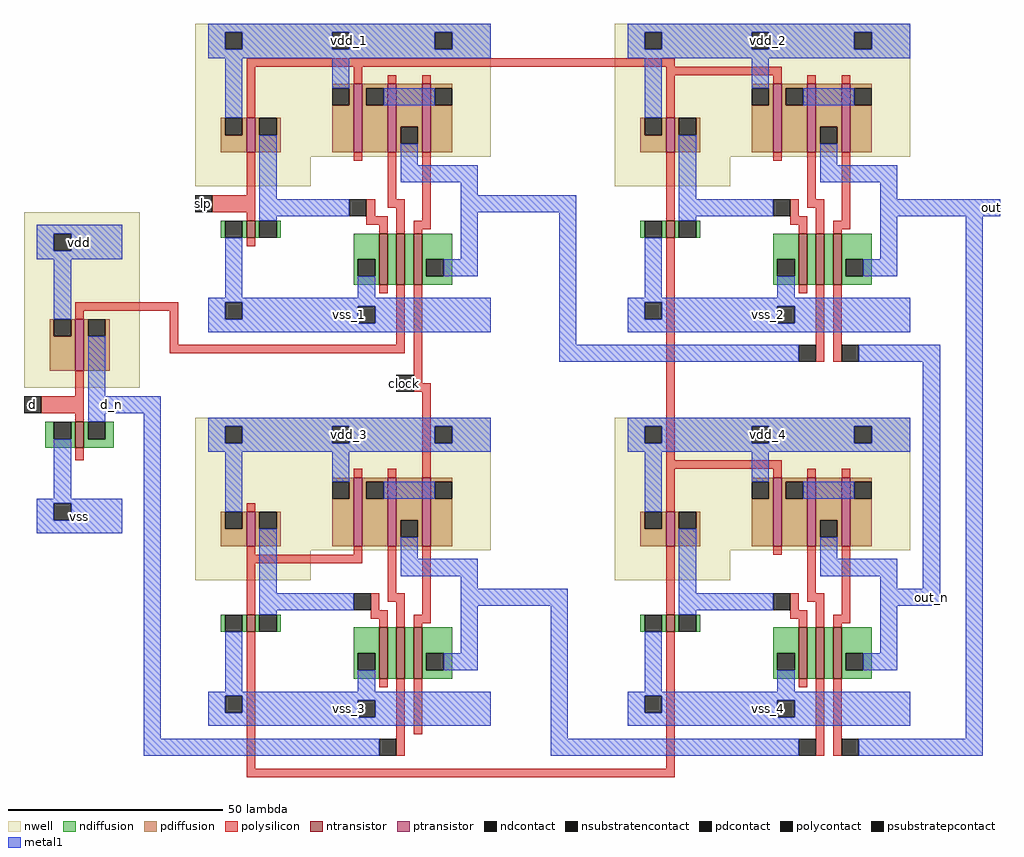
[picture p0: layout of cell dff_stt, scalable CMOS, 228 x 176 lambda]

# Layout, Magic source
magic
tech scmos
<< nwell >>
rect 109 19 178 50
rect 207 19 276 50
rect 109 12 136 19
rect 207 12 234 19
rect 69 -35 96 6
rect 109 -73 178 -42
rect 207 -73 276 -42
rect 109 -80 136 -73
rect 207 -80 234 -73
<< polysilicon >>
rect 121 40 221 42
rect 121 28 123 40
rect 146 36 148 40
rect 219 38 246 40
rect 154 36 156 38
rect 162 36 164 38
rect 219 28 221 38
rect 244 36 246 38
rect 252 36 254 38
rect 260 36 262 38
rect 121 10 123 20
rect 146 18 148 20
rect 113 6 123 10
rect 154 9 156 20
rect 121 4 123 6
rect 149 5 151 9
rect 154 7 158 9
rect 149 3 154 5
rect 152 1 154 3
rect 156 1 158 7
rect 162 4 164 20
rect 219 4 221 20
rect 244 18 246 20
rect 252 9 254 20
rect 248 5 250 9
rect 252 7 256 9
rect 160 2 164 4
rect 160 1 162 2
rect 121 -2 123 0
rect 248 3 252 5
rect 250 1 252 3
rect 254 1 256 7
rect 260 4 262 20
rect 258 2 262 4
rect 258 1 260 2
rect 152 -13 154 -11
rect 81 -17 105 -15
rect 81 -19 83 -17
rect 103 -25 105 -17
rect 156 -25 158 -11
rect 103 -27 158 -25
rect 81 -37 83 -31
rect 160 -34 162 -11
rect 160 -36 164 -34
rect 73 -41 83 -37
rect 81 -43 83 -41
rect 81 -52 83 -49
rect 146 -56 148 -54
rect 154 -56 156 -54
rect 162 -56 164 -36
rect 219 -52 221 0
rect 250 -13 252 -11
rect 254 -29 256 -11
rect 258 -29 260 -11
rect 219 -54 246 -52
rect 121 -64 123 -62
rect 219 -64 221 -54
rect 244 -56 246 -54
rect 252 -56 254 -54
rect 260 -56 262 -54
rect 121 -74 123 -72
rect 146 -74 148 -72
rect 121 -76 148 -74
rect 121 -88 123 -76
rect 154 -83 156 -72
rect 150 -87 152 -83
rect 154 -85 158 -83
rect 150 -89 154 -87
rect 152 -91 154 -89
rect 156 -91 158 -85
rect 162 -88 164 -72
rect 219 -88 221 -72
rect 244 -74 246 -72
rect 252 -83 254 -72
rect 248 -87 250 -83
rect 252 -85 256 -83
rect 160 -90 164 -88
rect 160 -91 162 -90
rect 121 -124 123 -92
rect 248 -89 252 -87
rect 250 -91 252 -89
rect 254 -91 256 -85
rect 260 -88 262 -72
rect 258 -90 262 -88
rect 258 -91 260 -90
rect 152 -105 154 -103
rect 156 -121 158 -103
rect 160 -116 162 -103
rect 219 -124 221 -92
rect 250 -105 252 -103
rect 254 -121 256 -103
rect 258 -121 260 -103
rect 121 -126 221 -124
<< ndiffusion >>
rect 115 0 116 4
rect 120 0 121 4
rect 123 0 124 4
rect 128 0 129 4
rect 146 -5 152 1
rect 146 -9 147 -5
rect 151 -9 152 -5
rect 146 -11 152 -9
rect 154 -11 156 1
rect 158 -11 160 1
rect 162 -5 169 1
rect 213 0 214 4
rect 218 0 219 4
rect 221 0 222 4
rect 226 0 227 4
rect 162 -9 163 -5
rect 167 -9 169 -5
rect 162 -11 169 -9
rect 74 -47 76 -43
rect 80 -47 81 -43
rect 74 -49 81 -47
rect 83 -47 84 -43
rect 88 -47 90 -43
rect 83 -49 90 -47
rect 244 -5 250 1
rect 244 -9 245 -5
rect 249 -9 250 -5
rect 244 -11 250 -9
rect 252 -11 254 1
rect 256 -11 258 1
rect 260 -5 267 1
rect 260 -9 261 -5
rect 265 -9 267 -5
rect 260 -11 267 -9
rect 115 -92 116 -88
rect 120 -92 121 -88
rect 123 -92 124 -88
rect 128 -92 129 -88
rect 146 -97 152 -91
rect 146 -101 147 -97
rect 151 -101 152 -97
rect 146 -103 152 -101
rect 154 -103 156 -91
rect 158 -103 160 -91
rect 162 -97 169 -91
rect 213 -92 214 -88
rect 218 -92 219 -88
rect 221 -92 222 -88
rect 226 -92 227 -88
rect 162 -101 163 -97
rect 167 -101 169 -97
rect 162 -103 169 -101
rect 244 -97 250 -91
rect 244 -101 245 -97
rect 249 -101 250 -97
rect 244 -103 250 -101
rect 252 -103 254 -91
rect 256 -103 258 -91
rect 260 -97 267 -91
rect 260 -101 261 -97
rect 265 -101 267 -97
rect 260 -103 267 -101
<< pdiffusion >>
rect 141 35 146 36
rect 145 31 146 35
rect 115 24 116 28
rect 120 24 121 28
rect 115 20 121 24
rect 123 24 124 28
rect 128 24 129 28
rect 123 20 129 24
rect 141 20 146 31
rect 148 35 154 36
rect 148 31 149 35
rect 153 31 154 35
rect 148 20 154 31
rect 156 26 162 36
rect 156 22 157 26
rect 161 22 162 26
rect 156 20 162 22
rect 164 35 169 36
rect 164 31 165 35
rect 164 20 169 31
rect 239 35 244 36
rect 243 31 244 35
rect 213 24 214 28
rect 218 24 219 28
rect 213 20 219 24
rect 221 24 222 28
rect 226 24 227 28
rect 221 20 227 24
rect 239 20 244 31
rect 246 35 252 36
rect 246 31 247 35
rect 251 31 252 35
rect 246 20 252 31
rect 254 26 260 36
rect 254 22 255 26
rect 259 22 260 26
rect 254 20 260 22
rect 262 35 267 36
rect 262 31 263 35
rect 262 20 267 31
rect 75 -23 76 -19
rect 80 -23 81 -19
rect 75 -31 81 -23
rect 83 -23 84 -19
rect 88 -23 89 -19
rect 83 -31 89 -23
rect 141 -57 146 -56
rect 145 -61 146 -57
rect 115 -68 116 -64
rect 120 -68 121 -64
rect 115 -72 121 -68
rect 123 -68 124 -64
rect 128 -68 129 -64
rect 123 -72 129 -68
rect 141 -72 146 -61
rect 148 -57 154 -56
rect 148 -61 149 -57
rect 153 -61 154 -57
rect 148 -72 154 -61
rect 156 -66 162 -56
rect 156 -70 157 -66
rect 161 -70 162 -66
rect 156 -72 162 -70
rect 164 -57 169 -56
rect 164 -61 165 -57
rect 164 -72 169 -61
rect 239 -57 244 -56
rect 243 -61 244 -57
rect 213 -68 214 -64
rect 218 -68 219 -64
rect 213 -72 219 -68
rect 221 -68 222 -64
rect 226 -68 227 -64
rect 221 -72 227 -68
rect 239 -72 244 -61
rect 246 -57 252 -56
rect 246 -61 247 -57
rect 251 -61 252 -57
rect 246 -72 252 -61
rect 254 -66 260 -56
rect 254 -70 255 -66
rect 259 -70 260 -66
rect 254 -72 260 -70
rect 262 -57 267 -56
rect 262 -61 263 -57
rect 262 -72 267 -61
<< metal1 >>
rect 112 48 178 50
rect 112 44 116 48
rect 120 44 141 48
rect 145 44 165 48
rect 169 44 178 48
rect 112 42 178 44
rect 210 48 276 50
rect 210 44 214 48
rect 218 44 239 48
rect 243 44 263 48
rect 267 44 276 48
rect 210 42 276 44
rect 116 28 120 42
rect 141 35 145 42
rect 153 31 165 35
rect 214 28 218 42
rect 239 35 243 42
rect 251 31 263 35
rect 124 9 128 24
rect 157 17 161 22
rect 157 13 175 17
rect 171 10 175 13
rect 124 5 145 9
rect 171 6 198 10
rect 124 4 128 5
rect 72 1 92 3
rect 72 -3 76 1
rect 80 -3 92 1
rect 72 -5 92 -3
rect 76 -19 80 -5
rect 116 -14 120 0
rect 171 -5 175 6
rect 167 -9 175 -5
rect 147 -14 151 -9
rect 112 -15 178 -14
rect 112 -19 116 -15
rect 120 -16 178 -15
rect 120 -19 147 -16
rect 112 -20 147 -19
rect 151 -20 178 -16
rect 112 -22 178 -20
rect 84 -37 88 -23
rect 194 -25 198 6
rect 222 9 226 24
rect 255 17 259 22
rect 255 13 273 17
rect 269 9 273 13
rect 222 5 244 9
rect 269 5 297 9
rect 222 4 226 5
rect 214 -14 218 0
rect 269 -5 273 5
rect 265 -9 273 -5
rect 245 -14 249 -9
rect 210 -15 276 -14
rect 210 -19 214 -15
rect 218 -16 276 -15
rect 218 -19 245 -16
rect 210 -20 245 -19
rect 249 -20 276 -16
rect 210 -22 276 -20
rect 194 -29 250 -25
rect 264 -29 283 -25
rect 84 -41 101 -37
rect 84 -43 88 -41
rect 76 -61 80 -47
rect 72 -62 92 -61
rect 72 -66 76 -62
rect 80 -66 92 -62
rect 72 -69 92 -66
rect 97 -117 101 -41
rect 112 -44 178 -42
rect 112 -48 116 -44
rect 120 -48 141 -44
rect 145 -48 165 -44
rect 169 -48 178 -44
rect 112 -50 178 -48
rect 210 -44 276 -42
rect 210 -48 214 -44
rect 218 -48 239 -44
rect 243 -48 263 -44
rect 267 -48 276 -44
rect 210 -50 276 -48
rect 116 -64 120 -50
rect 141 -57 145 -50
rect 153 -61 165 -57
rect 214 -64 218 -50
rect 239 -57 243 -50
rect 251 -61 263 -57
rect 124 -83 128 -68
rect 157 -75 161 -70
rect 157 -79 175 -75
rect 171 -82 175 -79
rect 124 -87 146 -83
rect 171 -86 196 -82
rect 124 -88 128 -87
rect 116 -106 120 -92
rect 171 -97 175 -86
rect 167 -101 175 -97
rect 147 -106 151 -101
rect 112 -107 178 -106
rect 112 -111 116 -107
rect 120 -108 178 -107
rect 120 -111 147 -108
rect 112 -112 147 -111
rect 151 -112 178 -108
rect 112 -114 178 -112
rect 192 -117 196 -86
rect 222 -83 226 -68
rect 255 -75 259 -70
rect 255 -79 273 -75
rect 269 -82 273 -79
rect 279 -82 283 -29
rect 222 -87 244 -83
rect 269 -86 283 -82
rect 222 -88 226 -87
rect 214 -106 218 -92
rect 269 -97 273 -86
rect 265 -101 273 -97
rect 245 -106 249 -101
rect 210 -107 276 -106
rect 210 -111 214 -107
rect 218 -108 276 -107
rect 218 -111 245 -108
rect 210 -112 245 -111
rect 249 -112 276 -108
rect 210 -114 276 -112
rect 289 -117 293 5
rect 97 -121 152 -117
rect 192 -121 250 -117
rect 264 -121 293 -117
<< ntransistor >>
rect 121 0 123 4
rect 152 -11 154 1
rect 156 -11 158 1
rect 160 -11 162 1
rect 219 0 221 4
rect 81 -49 83 -43
rect 250 -11 252 1
rect 254 -11 256 1
rect 258 -11 260 1
rect 121 -92 123 -88
rect 152 -103 154 -91
rect 156 -103 158 -91
rect 160 -103 162 -91
rect 219 -92 221 -88
rect 250 -103 252 -91
rect 254 -103 256 -91
rect 258 -103 260 -91
<< ptransistor >>
rect 121 20 123 28
rect 146 20 148 36
rect 154 20 156 36
rect 162 20 164 36
rect 219 20 221 28
rect 244 20 246 36
rect 252 20 254 36
rect 260 20 262 36
rect 81 -31 83 -19
rect 121 -72 123 -64
rect 146 -72 148 -56
rect 154 -72 156 -56
rect 162 -72 164 -56
rect 219 -72 221 -64
rect 244 -72 246 -56
rect 252 -72 254 -56
rect 260 -72 262 -56
<< polycontact >>
rect 109 6 113 10
rect 145 5 149 9
rect 244 5 248 9
rect 156 -36 160 -32
rect 69 -41 73 -37
rect 250 -29 254 -25
rect 260 -29 264 -25
rect 146 -87 150 -83
rect 244 -87 248 -83
rect 152 -121 156 -117
rect 250 -121 254 -117
rect 260 -121 264 -117
<< ndcontact >>
rect 116 0 120 4
rect 124 0 128 4
rect 147 -9 151 -5
rect 214 0 218 4
rect 222 0 226 4
rect 163 -9 167 -5
rect 76 -47 80 -43
rect 84 -47 88 -43
rect 245 -9 249 -5
rect 261 -9 265 -5
rect 116 -92 120 -88
rect 124 -92 128 -88
rect 147 -101 151 -97
rect 214 -92 218 -88
rect 222 -92 226 -88
rect 163 -101 167 -97
rect 245 -101 249 -97
rect 261 -101 265 -97
<< pdcontact >>
rect 141 31 145 35
rect 116 24 120 28
rect 124 24 128 28
rect 149 31 153 35
rect 157 22 161 26
rect 165 31 169 35
rect 239 31 243 35
rect 214 24 218 28
rect 222 24 226 28
rect 247 31 251 35
rect 255 22 259 26
rect 263 31 267 35
rect 76 -23 80 -19
rect 84 -23 88 -19
rect 141 -61 145 -57
rect 116 -68 120 -64
rect 124 -68 128 -64
rect 149 -61 153 -57
rect 157 -70 161 -66
rect 165 -61 169 -57
rect 239 -61 243 -57
rect 214 -68 218 -64
rect 222 -68 226 -64
rect 247 -61 251 -57
rect 255 -70 259 -66
rect 263 -61 267 -57
<< psubstratepcontact >>
rect 116 -19 120 -15
rect 147 -20 151 -16
rect 214 -19 218 -15
rect 245 -20 249 -16
rect 76 -66 80 -62
rect 116 -111 120 -107
rect 147 -112 151 -108
rect 214 -111 218 -107
rect 245 -112 249 -108
<< nsubstratencontact >>
rect 116 44 120 48
rect 141 44 145 48
rect 165 44 169 48
rect 214 44 218 48
rect 239 44 243 48
rect 263 44 267 48
rect 76 -3 80 1
rect 116 -48 120 -44
rect 141 -48 145 -44
rect 165 -48 169 -44
rect 214 -48 218 -44
rect 239 -48 243 -44
rect 263 -48 267 -44
<< labels >>
rlabel nwell 210 42 276 50 1 vdd_2
rlabel nwell 210 -50 276 -42 1 vdd_4
rlabel metal1 210 -22 276 -14 5 vss_2
rlabel metal1 210 -114 276 -106 5 vss_4
rlabel metal1 112 -114 178 -106 5 vss_3
rlabel metal1 293 5 297 9 3 out
rlabel nwell 112 -50 178 -42 1 vdd_3
rlabel nwell 112 42 178 50 1 vdd_1
rlabel polycontact 109 6 113 10 5 slp
rlabel metal1 112 -22 178 -14 5 vss_1
rlabel polycontact 156 -36 160 -32 5 clock
rlabel metal1 72 -69 92 -61 5 vss
rlabel nwell 72 -5 92 3 1 vdd
rlabel metal1 88 -41 91 -37 5 d_n
rlabel polycontact 69 -41 73 -37 5 d
rlabel metal1 279 -86 283 -82 5 out_n
<< end >>
